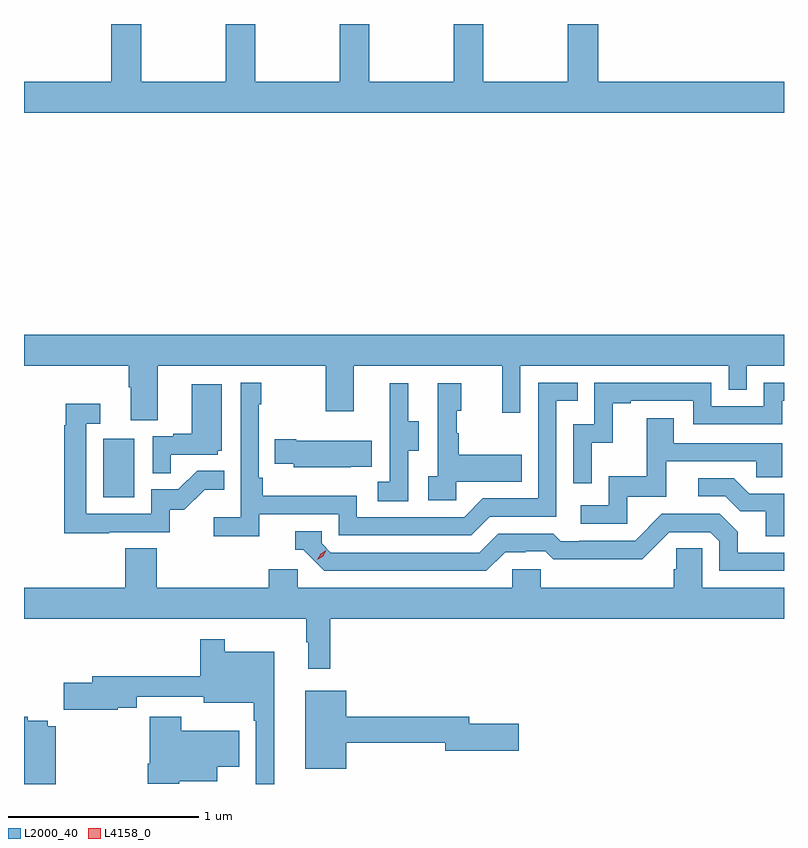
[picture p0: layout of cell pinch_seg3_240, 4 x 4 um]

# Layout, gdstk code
import gdstk
lib = gdstk.Library(unit=1e-6, precision=1e-09)
def R(c, l, rs):  # rectangles x0, y0, x1, y1
    for r in rs: c.add(gdstk.rectangle(r[:2], r[2:], *l))
def P(c, l, *ps):  # polygons
    for p in ps: c.add(gdstk.Polygon(p, *l))
L2000_40 = (2000, 40)
L4158_0 = (4158, 0)

pinch_seg3_240 = lib.new_cell('pinch_seg3_240')
R(pinch_seg3_240, L2000_40, [(909.02,744.18,909.184,744.487)])
P(pinch_seg3_240, L2000_40, [(912.604,746.368),(911.627,746.368),(911.627,746.671),(911.467,746.671),(911.467,746.368),(911.022,746.368),(911.022,746.671),(910.867,746.671),(910.867,746.368),(910.422,746.368),(910.422,746.671),(910.267,746.671),(910.267,746.368),(909.822,746.368),(909.822,746.671),(909.667,746.671),(909.667,746.368),(909.222,746.368),(909.222,746.671),(909.062,746.671),(909.062,746.368),(908.604,746.368),(908.604,746.204),(912.604,746.204)],
  [(909.307,744.872),(910.192,744.872),(910.192,744.633),(910.339,744.633),(910.339,744.872),(911.12,744.872),(911.12,744.624),(911.217,744.624),(911.217,744.872),(912.312,744.872),(912.312,744.745),(912.408,744.745),(912.408,744.872),(912.604,744.872),(912.604,745.036),(908.604,745.036),(908.604,744.872),(909.155,744.872),(909.155,744.76),(909.167,744.76),(909.167,744.586),(909.307,744.586)],
  [(909.842,744.09),(910.26,744.09),(910.26,743.979),(910.957,743.979),(911.056,744.078),(911.406,744.078),(911.406,744.687),(911.519,744.687),(911.519,744.783),(911.31,744.783),(911.31,744.174),(911.019,744.174),(910.92,744.075),(910.356,744.075),(910.356,744.187),(909.86,744.187),(909.86,744.283),(909.84,744.283),(909.84,744.671),(909.853,744.671),(909.853,744.784),(909.744,744.784),(909.744,744.076),(909.603,744.076),(909.603,743.974),(909.842,743.974)],
  [(911.592,744.467),(911.702,744.467),(911.702,744.675),(911.797,744.675),(911.797,744.687),(912.126,744.687),(912.126,744.564),(912.594,744.564),(912.594,744.687),(912.604,744.687),(912.604,744.783),(912.498,744.783),(912.498,744.66),(912.222,744.66),(912.222,744.783),(911.604,744.783),(911.604,744.564),(911.496,744.564),(911.496,744.255),(911.592,744.255)],
  [(910.626,744.424),(910.681,744.424),(910.681,744.579),(910.627,744.579),(910.627,744.781),(910.529,744.781),(910.529,744.567),(910.53,744.567),(910.53,744.263),(910.467,744.263),(910.467,744.16),(910.626,744.16)],
  [(910.878,744.263),(911.225,744.263),(911.225,744.403),(910.891,744.403),(910.891,744.518),(910.881,744.518),(910.881,744.636),(910.906,744.636),(910.906,744.781),(910.782,744.781),(910.782,744.29),(910.731,744.29),(910.731,744.165),(910.878,744.165)],
  [(909.377,744.405),(909.624,744.405),(909.624,744.426),(909.646,744.426),(909.646,744.775),(909.488,744.775),(909.488,744.514),(909.389,744.514),(909.389,744.501),(909.282,744.501),(909.282,744.307),(909.377,744.307)],
  [(909.053,743.997),(909.372,743.997),(909.372,744.114),(909.448,744.114),(909.555,744.221),(909.659,744.221),(909.659,744.32),(909.515,744.32),(909.417,744.222),(909.273,744.222),(909.273,744.093),(908.931,744.093),(908.931,744.567),(909.004,744.567),(909.004,744.673),(908.823,744.673),(908.823,744.56),(908.815,744.56),(908.815,743.992),(909.053,743.992)],
  [(911.778,744.183),(911.983,744.183),(911.983,744.369),(912.457,744.369),(912.457,744.285),(912.594,744.285),(912.594,744.465),(912.025,744.465),(912.025,744.595),(911.881,744.595),(911.881,744.292),(911.682,744.292),(911.682,744.138),(911.535,744.138),(911.535,744.042),(911.778,744.042)],
  [(910.325,744.341),(910.433,744.341),(910.433,744.478),(910.036,744.478),(910.036,744.486),(909.925,744.486),(909.925,744.356),(910.023,744.356),(910.023,744.338),(910.325,744.338)],
  [(912.604,744.198),(912.421,744.198),(912.34,744.279),(912.153,744.279),(912.153,744.186),(912.294,744.186),(912.374,744.106),(912.509,744.106),(912.509,743.974),(912.604,743.974)],
  [(911.137,743.892),(911.244,743.892),(911.244,743.895),(911.347,743.895),(911.389,743.853),(911.622,743.853),(911.622,743.855),(911.858,743.855),(912,743.997),(912.216,743.997),(912.264,743.949),(912.264,743.793),(912.604,743.793),(912.604,743.889),(912.361,743.889),(912.361,743.999),(912.267,744.093),(911.961,744.093),(911.82,743.952),(911.527,743.952),(911.527,743.949),(911.428,743.949),(911.389,743.988),(911.1,743.988),(911.001,743.889),(910.218,743.889),(910.17,743.937),(910.17,744),(910.031,744),(910.031,743.904),(910.074,743.904),(910.185,743.793),(911.038,743.793)],
  [(910.217,743.54),(912.604,743.54),(912.604,743.704),(912.174,743.704),(912.174,743.912),(912.037,743.912),(912.037,743.802),(912.023,743.802),(912.023,743.704),(911.325,743.704),(911.325,743.802),(911.175,743.802),(911.175,743.704),(910.044,743.704),(910.044,743.802),(909.893,743.802),(909.893,743.704),(909.302,743.704),(909.302,743.912),(909.137,743.912),(909.137,743.704),(908.604,743.704),(908.604,743.54),(910.089,743.54),(910.089,743.417),(910.1,743.417),(910.1,743.277),(910.217,743.277)],
  [(909.922,743.368),(909.661,743.368),(909.661,743.434),(909.532,743.434),(909.532,743.239),(908.963,743.239),(908.963,743.205),(908.814,743.205),(908.814,743.063),(909.098,743.063),(909.098,743.072),(909.198,743.072),(909.198,743.13),(909.551,743.13),(909.551,743.099),(909.813,743.099),(909.813,743.003),(909.825,743.003),(909.825,742.671),(909.922,742.671)],
  [(910.3,742.888),(910.82,742.888),(910.82,742.846),(911.209,742.846),(911.209,742.988),(910.948,742.988),(910.948,743.024),(910.3,743.024),(910.3,743.161),(910.085,743.161),(910.085,742.751),(910.3,742.751)],
  [(909.42,742.685),(909.622,742.685),(909.622,742.763),(909.736,742.763),(909.736,742.951),(909.432,742.951),(909.432,743.025),(909.266,743.025),(909.266,742.777),(909.254,742.777),(909.254,742.673),(909.42,742.673)],
  [(908.771,742.975),(908.728,742.975),(908.728,743.004),(908.624,743.004),(908.624,743.024),(908.604,743.024),(908.604,742.671),(908.771,742.671)])
P(pinch_seg3_240, L4158_0, [(910.148,743.85),(910.148,743.85),(910.165,743.882),(910.196,743.901),(910.196,743.901),(910.196,743.901),(910.179,743.869),(910.148,743.85)])

lib.write_gds('pinch_seg3_240.gds')
